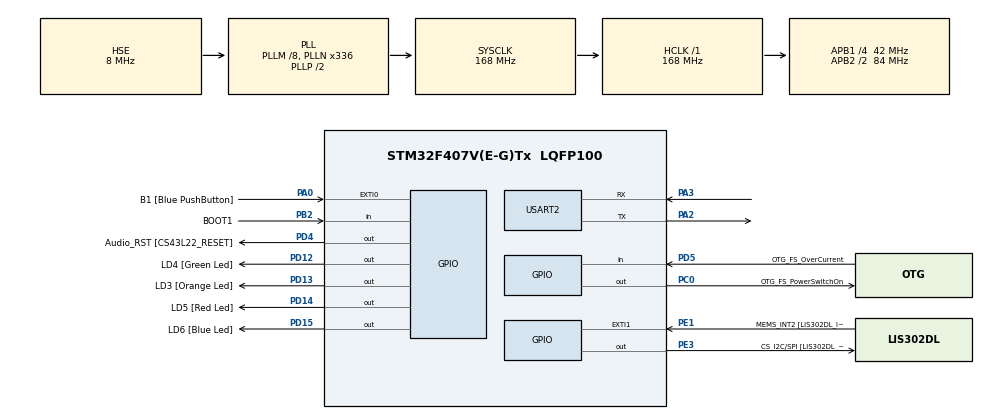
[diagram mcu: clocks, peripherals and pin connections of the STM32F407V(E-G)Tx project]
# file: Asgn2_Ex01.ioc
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Mcu.Family=STM32F4
Mcu.Name=STM32F407V(E-G)Tx
Mcu.Package=LQFP100
NVIC.EXTI0_IRQn=true\:0\:0\:false\:false\:true\:true\:true\:true
NVIC.PriorityGroup=NVIC_PRIORITYGROUP_0
PA0-WKUP.GPIO_Label=B1 [Blue PushButton]
PA0-WKUP.GPIO_ModeDefaultEXTI=GPIO_MODE_IT_RISING
PA0-WKUP.GPIO_PuPd=GPIO_NOPULL
PA0-WKUP.Signal=GPXTI0
PA10.GPIO_Label=OTG_FS_ID
PA10.GPIO_Mode=GPIO_MODE_AF_PP
PA10.GPIO_PuPd=GPIO_NOPULL
PA10.GPIO_Speed=GPIO_SPEED_FREQ_LOW
PA10.Signal=USB_OTG_FS_ID
PA11.GPIO_Label=OTG_FS_DM
PA11.GPIO_Mode=GPIO_MODE_AF_PP
PA11.GPIO_PuPd=GPIO_NOPULL
PA11.GPIO_Speed=GPIO_SPEED_FREQ_LOW
PA11.Signal=USB_OTG_FS_DM
PA12.GPIO_Label=OTG_FS_DP
PA12.GPIO_Mode=GPIO_MODE_AF_PP
PA12.GPIO_PuPd=GPIO_NOPULL
PA12.GPIO_Speed=GPIO_SPEED_FREQ_LOW
PA12.Signal=USB_OTG_FS_DP
PA13.GPIO_Label=SWDIO
PA13.Mode=Serial_Wire
PA13.Signal=SYS_JTMS-SWDIO
PA14.GPIO_Label=SWCLK
PA14.Mode=Serial_Wire
PA14.Signal=SYS_JTCK-SWCLK
PA2.Mode=Asynchronous
PA2.Signal=USART2_TX
PA3.Mode=Asynchronous
PA3.Signal=USART2_RX
PA4.GPIO_Label=I2S3_WS [CS43L22_LRCK]
PA4.GPIO_Mode=GPIO_MODE_AF_PP
PA4.GPIO_PuPd=GPIO_NOPULL
PA4.GPIO_Speed=GPIO_SPEED_FREQ_LOW
PA4.Signal=I2S3_WS
PA5.GPIO_Mode=GPIO_MODE_AF_PP
PA5.GPIO_PuPd=GPIO_NOPULL
PA5.GPIO_Speed=GPIO_SPEED_FREQ_VERY_HIGH
PA5.Signal=SPI1_SCK
PA6.GPIO_Mode=GPIO_MODE_AF_PP
PA6.GPIO_PuPd=GPIO_NOPULL
PA6.GPIO_Speed=GPIO_SPEED_FREQ_VERY_HIGH
PA6.Signal=SPI1_MISO
PA7.GPIO_Mode=GPIO_MODE_AF_PP
PA7.GPIO_PuPd=GPIO_NOPULL
PA7.GPIO_Speed=GPIO_SPEED_FREQ_VERY_HIGH
PA7.Signal=SPI1_MOSI
PA9.GPIO_Label=VBUS_FS
PA9.GPIO_Mode=GPIO_MODE_INPUT
PA9.GPIO_PuPd=GPIO_NOPULL
PA9.Signal=USB_OTG_FS_VBUS
PB10.GPIO_Label=CLK_IN [MP45DT02_CLK]
PB10.GPIO_Mode=GPIO_MODE_AF_PP
PB10.GPIO_PuPd=GPIO_NOPULL
PB10.GPIO_Speed=GPIO_SPEED_FREQ_LOW
PB10.Signal=I2S2_CK
PB2.GPIO_Label=BOOT1
PB2.GPIO_Mode=GPIO_MODE_INPUT
PB2.GPIO_PuPd=GPIO_NOPULL
PB2.Signal=GPIO_Input
PB3.GPIO_Label=SWO
PB3.Signal=SYS_JTDO-SWO
PB6.GPIO_Label=Audio_SCL [CS43L22_SCL]
PB6.GPIO_Mode=GPIO_MODE_AF_OD
PB6.GPIO_Pu=GPIO_PULLUP
PB6.GPIO_PuPd=GPIO_NOPULL
PB6.GPIO_Speed=GPIO_SPEED_FREQ_LOW
PB6.Signal=I2C1_SCL
PB9.GPIO_Label=Audio_SDA [CS43L22_SDA]
PB9.GPIO_Mode=GPIO_MODE_AF_OD
PB9.GPIO_Pu=GPIO_PULLUP
PB9.GPIO_PuPd=GPIO_NOPULL
PB9.GPIO_Speed=GPIO_SPEED_FREQ_LOW
PB9.Signal=I2C1_SDA
PC0.GPIO_Label=OTG_FS_PowerSwitchOn
PC0.GPIO_PuPd=GPIO_NOPULL
PC0.GPIO_Speed=GPIO_SPEED_FREQ_LOW
PC0.PinState=GPIO_PIN_SET
PC0.Signal=GPIO_Output
PC10.GPIO_Label=I2S3_SCK [CS43L22_SCLK]
PC10.GPIO_Mode=GPIO_MODE_AF_PP
PC10.GPIO_PuPd=GPIO_NOPULL
PC10.GPIO_Speed=GPIO_SPEED_FREQ_LOW
PC10.Signal=I2S3_CK
PC12.GPIO_Label=I2S3_SD [CS43L22_SDIN]
PC12.GPIO_Mode=GPIO_MODE_AF_PP
PC12.GPIO_PuPd=GPIO_NOPULL
PC12.GPIO_Speed=GPIO_SPEED_FREQ_LOW
PC12.Signal=I2S3_SD
PC14-OSC32_IN.GPIO_Label=PC14-OSC32_IN
PC14-OSC32_IN.Mode=LSE-External-Oscillator
PC14-OSC32_IN.Signal=RCC_OSC32_IN
PC15-OSC32_OUT.GPIO_Label=PC15-OSC32_OUT
PC15-OSC32_OUT.Mode=LSE-External-Oscillator
PC15-OSC32_OUT.Signal=RCC_OSC32_OUT
PC3.GPIO_Label=PDM_OUT [MP45DT02_DOUT]
PC3.GPIO_Mode=GPIO_MODE_AF_PP
PC3.GPIO_PuPd=GPIO_NOPULL
PC3.GPIO_Speed=GPIO_SPEED_FREQ_LOW
PC3.Signal=I2S2_SD
PC7.GPIO_Label=I2S3_MCK [CS43L22_MCLK]
PC7.GPIO_Mode=GPIO_MODE_AF_PP
PC7.GPIO_PuPd=GPIO_NOPULL
PC7.GPIO_Speed=GPIO_SPEED_FREQ_LOW
PC7.Signal=I2S3_MCK
PD12.GPIO_Label=LD4 [Green Led]
PD12.GPIO_PuPd=GPIO_NOPULL
PD12.GPIO_Speed=GPIO_SPEED_FREQ_LOW
PD12.Signal=GPIO_Output
PD13.GPIO_Label=LD3 [Orange Led]
PD13.GPIO_PuPd=GPIO_NOPULL
PD13.GPIO_Speed=GPIO_SPEED_FREQ_LOW
PD13.Signal=GPIO_Output
PD14.GPIO_Label=LD5 [Red Led]
PD14.GPIO_PuPd=GPIO_NOPULL
PD14.GPIO_Speed=GPIO_SPEED_FREQ_LOW
PD14.Signal=GPIO_Output
PD15.GPIO_Label=LD6 [Blue Led]
PD15.GPIO_PuPd=GPIO_NOPULL
PD15.GPIO_Speed=GPIO_SPEED_FREQ_LOW
PD15.Signal=GPIO_Output
PD4.GPIO_Label=Audio_RST [CS43L22_RESET]
PD4.GPIO_PuPd=GPIO_NOPULL
PD4.GPIO_Speed=GPIO_SPEED_FREQ_LOW
PD4.Signal=GPIO_Output
PD5.GPIO_Label=OTG_FS_OverCurrent
PD5.GPIO_Mode=GPIO_MODE_INPUT
PD5.GPIO_PuPd=GPIO_NOPULL
PD5.Signal=GPIO_Input
PE1.GPIO_Label=MEMS_INT2 [LIS302DL_INT2]
PE1.GPIO_ModeDefaultEXTI=GPIO_MODE_EVT_RISING
PE1.GPIO_PuPd=GPIO_NOPULL
PE1.Signal=GPXTI1
PE3.GPIO_Label=CS_I2C/SPI [LIS302DL_CS_I2C/SPI]
PE3.GPIO_PuPd=GPIO_NOPULL
PE3.GPIO_Speed=GPIO_SPEED_FREQ_LOW
PE3.Signal=GPIO_Output
PH0-OSC_IN.GPIO_Label=PH0-OSC_IN
PH0-OSC_IN.Mode=HSE-External-Oscillator
PH0-OSC_IN.Signal=RCC_OSC_IN
PH1-OSC_OUT.GPIO_Label=PH1-OSC_OUT
PH1-OSC_OUT.Mode=HSE-External-Oscillator
PH1-OSC_OUT.Signal=RCC_OSC_OUT
ProjectManager.HeapSize=0x200
ProjectManager.StackSize=0x400
ProjectManager.TargetToolchain=STM32CubeIDE
RCC.48MHZClocksFreq_Value=48000000
RCC.AHBFreq_Value=168000000
RCC.APB1CLKDivider=RCC_HCLK_DIV4
RCC.APB1Freq_Value=42000000
RCC.APB1TimFreq_Value=84000000
RCC.APB2CLKDivider=RCC_HCLK_DIV2
RCC.APB2Freq_Value=84000000
RCC.APB2TimFreq_Value=168000000
RCC.CortexFreq_Value=168000000
RCC.HCLKFreq_Value=168000000
RCC.HSE_VALUE=8000000
RCC.HSI_VALUE=16000000
RCC.PLLM=8
RCC.PLLN=336
RCC.PLLQ=7
RCC.PLLSourceVirtual=RCC_PLLSOURCE_HSE
RCC.SYSCLKFreq_VALUE=168000000
RCC.SYSCLKSource=RCC_SYSCLKSOURCE_PLLCLK
RCC.VCOOutputFreq_Value=336000000
USART2.VirtualMode=VM_ASYNC
board=STM32F407G-DISC1

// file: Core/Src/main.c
/* USER CODE BEGIN Header */
/**
  ******************************************************************************
  * @file           : main.c
  * @brief          : Main program body
  ******************************************************************************
  * @attention
  *
  * Copyright (c) 2024 STMicroelectronics.
  * All rights reserved.
  *
  * This software is licensed under terms that can be found in the LICENSE file
  * in the root directory of this software component.
  * If no LICENSE file comes with this software, it is provided AS-IS.
  *
  ******************************************************************************
  */
/* USER CODE END Header */
#include "main.h"

/* USER CODE BEGIN PTD */
#define PIN_RED LD5_Pin
#define PIN_GREEN LD4_Pin
#define PIN_ORANGE LD3_Pin
#define PIN_BLUE LD6_Pin

#define COLOR_RED 0
#define COLOR_GREEN 1
#define COLOR_ORANGE 2
#define COLOR_BLUE 3

#define BTN_DOWN 0
#define BTN_UP 1
/* USER CODE END PTD */

UART_HandleTypeDef huart2;

/* USER CODE BEGIN PV */
int color_bools[4];
/* USER CODE END PV */

void SystemClock_Config(void);
static void MX_GPIO_Init(void);
static void MX_USART2_UART_Init(void);

/* USER CODE BEGIN 0 */
int __io_putchar(int ch) {
	uint8_t d = (uint8_t)ch;
	return HAL_UART_Transmit(&huart2, &d, 1, 500);
}

int _write(int file, char *ptr, int len)
{
  (void)file;
  int DataIdx;

  for (DataIdx = 0; DataIdx < len; DataIdx++)
  {
    __io_putchar(*ptr++);
  }
  return len;
}

void HAL_GPIO_EXTI_Callback(uint16_t GPIO_Pin)
{
	while(1) {}
}

uint16_t get_color_pin(int color) {
	switch(color) {
	case 0:
		return LD5_Pin;
	case 1:
		return LD4_Pin;
	case 2:
		return LD3_Pin;
	case 3:
		return LD6_Pin;
	default:
		return 0;
	}
}

/* sets pin */
void led_set(int color, int on) {
	if (on) {
		HAL_GPIO_WritePin(LD4_GPIO_Port, get_color_pin(color), GPIO_PIN_SET);
	}
	else {
		HAL_GPIO_WritePin(LD4_GPIO_Port, get_color_pin(color), GPIO_PIN_RESET);
	}
}

void color_update(int color) {
	if (color_bools[color]) {
		led_set(color, 1);
	}
	else {
		led_set(color, 0);
	}
}

void all_color_update() {
	for (int i = 0; i < 4; i++) {
		color_update(i);
	}
}

/* sets value in color_bools array */
void color_set(int color, int state) {
	color_bools[color] = state;
}

void color_toggle(int color) {
	color_bools[color] = !color_bools[color];
}

/* only color provided in argument will be set to 1, other 0 */
void color_set_exclusive(int color) {
	for (int i = 0; i < 4; i++) {
		color_bools[i] = i == color ? 1 : 0;
	}
}

void all_color_set(int value) {
	for (int i = 0; i < 4; i++) {
		color_bools[i] = value;
	}
}

void all_color_toggle() {
	for (int i = 0; i < 4; i++) {
		color_toggle(i);
	}
}

/* resets/turns off all colors */
void all_off() {
	all_color_set(0);
}

/* USER CODE END 0 */

int main(void)
{

  /* MCU Configuration--------------------------------------------------------*/

  /* Reset of all peripherals, Initializes the Flash interface and the Systick. */
  HAL_Init();

  /* Configure the system clock */
  SystemClock_Config();

  /* USER CODE BEGIN SysInit */
  SysTick->LOAD = 4200000;
  SysTick->CTRL = SysTick_CTRL_CLKSOURCE_Msk | SysTick_CTRL_TICKINT_Msk | SysTick_CTRL_ENABLE_Msk | SysTick->CTRL;
  /* USER CODE END SysInit */

  /* Initialize all configured peripherals */
  MX_GPIO_Init();
  MX_USART2_UART_Init();
  /* USER CODE BEGIN 2 */
//  HAL_GPIO_WritePin(LD3_GPIO_Port, LD3_Pin, GPIO_PIN_SET);
  int minor_cycle = 0;
  int minor_cycle_step = 50;
  int major_cycle = 6000;
  int led = 0;

  color_bools[COLOR_RED] = 0;
  color_bools[COLOR_GREEN] = 0;
  color_bools[COLOR_BLUE] = 0;
  color_bools[COLOR_ORANGE] = 0;
  /* USER CODE END 2 */

  /* Infinite loop */
  while (1)
  {

    /* USER CODE BEGIN 3 */
	  if (minor_cycle % 8 == 0) {
		  color_toggle(COLOR_BLUE);
	  }
	  if (minor_cycle % 2 == 0) {
		  color_toggle(COLOR_GREEN);
	  }
	  if (minor_cycle % 3 == 0) {
		  color_toggle(COLOR_ORANGE);
	  }
	  if (minor_cycle % 5 == 0) {
		  color_toggle(COLOR_RED);
	  }
	  all_color_update();

	  minor_cycle += 1;
	  if (minor_cycle % 120 == 0) {
		  minor_cycle = 0;
	  }
//	  led_set(COLOR_BLUE, led);
//	  led = !led;
	  HAL_Delay(1);
  }
  /* USER CODE END 3 */
}

void SystemClock_Config(void)
{
  RCC_OscInitTypeDef RCC_OscInitStruct = {0};
  RCC_ClkInitTypeDef RCC_ClkInitStruct = {0};

  /** Configure the main internal regulator output voltage
  */
  __HAL_RCC_PWR_CLK_ENABLE();
  __HAL_PWR_VOLTAGESCALING_CONFIG(PWR_REGULATOR_VOLTAGE_SCALE1);

  /** Initializes the RCC Oscillators according to the specified parameters
  * in the RCC_OscInitTypeDef structure.
  */
  RCC_OscInitStruct.OscillatorType = RCC_OSCILLATORTYPE_HSE;
  RCC_OscInitStruct.HSEState = RCC_HSE_ON;
  RCC_OscInitStruct.PLL.PLLState = RCC_PLL_ON;
  RCC_OscInitStruct.PLL.PLLSource = RCC_PLLSOURCE_HSE;
  RCC_OscInitStruct.PLL.PLLM = 8;
  RCC_OscInitStruct.PLL.PLLN = 336;
  RCC_OscInitStruct.PLL.PLLP = RCC_PLLP_DIV2;
  RCC_OscInitStruct.PLL.PLLQ = 7;
  if (HAL_RCC_OscConfig(&RCC_OscInitStruct) != HAL_OK)
  {
    Error_Handler();
  }

  /** Initializes the CPU, AHB and APB buses clocks
  */
  RCC_ClkInitStruct.ClockType = RCC_CLOCKTYPE_HCLK|RCC_CLOCKTYPE_SYSCLK
                              |RCC_CLOCKTYPE_PCLK1|RCC_CLOCKTYPE_PCLK2;
  RCC_ClkInitStruct.SYSCLKSource = RCC_SYSCLKSOURCE_PLLCLK;
  RCC_ClkInitStruct.AHBCLKDivider = RCC_SYSCLK_DIV1;
  RCC_ClkInitStruct.APB1CLKDivider = RCC_HCLK_DIV4;
  RCC_ClkInitStruct.APB2CLKDivider = RCC_HCLK_DIV2;

  if (HAL_RCC_ClockConfig(&RCC_ClkInitStruct, FLASH_LATENCY_5) != HAL_OK)
  {
    Error_Handler();
  }
}

static void MX_USART2_UART_Init(void)
{

  huart2.Instance = USART2;
  huart2.Init.BaudRate = 115200;
  huart2.Init.WordLength = UART_WORDLENGTH_8B;
  huart2.Init.StopBits = UART_STOPBITS_1;
  huart2.Init.Parity = UART_PARITY_NONE;
  huart2.Init.Mode = UART_MODE_TX_RX;
  huart2.Init.HwFlowCtl = UART_HWCONTROL_NONE;
  huart2.Init.OverSampling = UART_OVERSAMPLING_16;
  if (HAL_UART_Init(&huart2) != HAL_OK)
  {
    Error_Handler();
  }

}

static void MX_GPIO_Init(void)
{
  GPIO_InitTypeDef GPIO_InitStruct = {0};

  /* GPIO Ports Clock Enable */
  __HAL_RCC_GPIOE_CLK_ENABLE();
  __HAL_RCC_GPIOC_CLK_ENABLE();
  __HAL_RCC_GPIOH_CLK_ENABLE();
  __HAL_RCC_GPIOA_CLK_ENABLE();
  __HAL_RCC_GPIOB_CLK_ENABLE();
  __HAL_RCC_GPIOD_CLK_ENABLE();

  /*Configure GPIO pin Output Level */
  HAL_GPIO_WritePin(CS_I2C_SPI_GPIO_Port, CS_I2C_SPI_Pin, GPIO_PIN_RESET);

  /*Configure GPIO pin Output Level */
  HAL_GPIO_WritePin(OTG_FS_PowerSwitchOn_GPIO_Port, OTG_FS_PowerSwitchOn_Pin, GPIO_PIN_SET);

  /*Configure GPIO pin Output Level */
  HAL_GPIO_WritePin(GPIOD, LD4_Pin|LD3_Pin|LD5_Pin|LD6_Pin
                          |Audio_RST_Pin, GPIO_PIN_RESET);

  /*Configure GPIO pin : CS_I2C_SPI_Pin */
  GPIO_InitStruct.Pin = CS_I2C_SPI_Pin;
  GPIO_InitStruct.Mode = GPIO_MODE_OUTPUT_PP;
  GPIO_InitStruct.Pull = GPIO_NOPULL;
  GPIO_InitStruct.Speed = GPIO_SPEED_FREQ_LOW;
  HAL_GPIO_Init(CS_I2C_SPI_GPIO_Port, &GPIO_InitStruct);

  /*Configure GPIO pin : OTG_FS_PowerSwitchOn_Pin */
  GPIO_InitStruct.Pin = OTG_FS_PowerSwitchOn_Pin;
  GPIO_InitStruct.Mode = GPIO_MODE_OUTPUT_PP;
  GPIO_InitStruct.Pull = GPIO_NOPULL;
  GPIO_InitStruct.Speed = GPIO_SPEED_FREQ_LOW;
  HAL_GPIO_Init(OTG_FS_PowerSwitchOn_GPIO_Port, &GPIO_InitStruct);

  /*Configure GPIO pin : PDM_OUT_Pin */
  GPIO_InitStruct.Pin = PDM_OUT_Pin;
  GPIO_InitStruct.Mode = GPIO_MODE_AF_PP;
  GPIO_InitStruct.Pull = GPIO_NOPULL;
  GPIO_InitStruct.Speed = GPIO_SPEED_FREQ_LOW;
  GPIO_InitStruct.Alternate = GPIO_AF5_SPI2;
  HAL_GPIO_Init(PDM_OUT_GPIO_Port, &GPIO_InitStruct);

  /*Configure GPIO pin : B1_Pin */
  GPIO_InitStruct.Pin = B1_Pin;
  GPIO_InitStruct.Mode = GPIO_MODE_IT_RISING;
  GPIO_InitStruct.Pull = GPIO_NOPULL;
  HAL_GPIO_Init(B1_GPIO_Port, &GPIO_InitStruct);

  /*Configure GPIO pin : I2S3_WS_Pin */
  GPIO_InitStruct.Pin = I2S3_WS_Pin;
  GPIO_InitStruct.Mode = GPIO_MODE_AF_PP;
  GPIO_InitStruct.Pull = GPIO_NOPULL;
  GPIO_InitStruct.Speed = GPIO_SPEED_FREQ_LOW;
  GPIO_InitStruct.Alternate = GPIO_AF6_SPI3;
  HAL_GPIO_Init(I2S3_WS_GPIO_Port, &GPIO_InitStruct);

  /*Configure GPIO pins : PA5 PA6 PA7 */
  GPIO_InitStruct.Pin = GPIO_PIN_5|GPIO_PIN_6|GPIO_PIN_7;
  GPIO_InitStruct.Mode = GPIO_MODE_AF_PP;
  GPIO_InitStruct.Pull = GPIO_NOPULL;
  GPIO_InitStruct.Speed = GPIO_SPEED_FREQ_VERY_HIGH;
  GPIO_InitStruct.Alternate = GPIO_AF5_SPI1;
  HAL_GPIO_Init(GPIOA, &GPIO_InitStruct);

  /*Configure GPIO pin : BOOT1_Pin */
  GPIO_InitStruct.Pin = BOOT1_Pin;
  GPIO_InitStruct.Mode = GPIO_MODE_INPUT;
  GPIO_InitStruct.Pull = GPIO_NOPULL;
  HAL_GPIO_Init(BOOT1_GPIO_Port, &GPIO_InitStruct);

  /*Configure GPIO pin : CLK_IN_Pin */
  GPIO_InitStruct.Pin = CLK_IN_Pin;
  GPIO_InitStruct.Mode = GPIO_MODE_AF_PP;
  GPIO_InitStruct.Pull = GPIO_NOPULL;
  GPIO_InitStruct.Speed = GPIO_SPEED_FREQ_LOW;
  GPIO_InitStruct.Alternate = GPIO_AF5_SPI2;
  HAL_GPIO_Init(CLK_IN_GPIO_Port, &GPIO_InitStruct);

  /*Configure GPIO pins : LD4_Pin LD3_Pin LD5_Pin LD6_Pin
                           Audio_RST_Pin */
  GPIO_InitStruct.Pin = LD4_Pin|LD3_Pin|LD5_Pin|LD6_Pin
                          |Audio_RST_Pin;
  GPIO_InitStruct.Mode = GPIO_MODE_OUTPUT_PP;
  GPIO_InitStruct.Pull = GPIO_NOPULL;
  GPIO_InitStruct.Speed = GPIO_SPEED_FREQ_LOW;
  HAL_GPIO_Init(GPIOD, &GPIO_InitStruct);

  /*Configure GPIO pins : I2S3_MCK_Pin I2S3_SCK_Pin I2S3_SD_Pin */
  GPIO_InitStruct.Pin = I2S3_MCK_Pin|I2S3_SCK_Pin|I2S3_SD_Pin;
  GPIO_InitStruct.Mode = GPIO_MODE_AF_PP;
  GPIO_InitStruct.Pull = GPIO_NOPULL;
  GPIO_InitStruct.Speed = GPIO_SPEED_FREQ_LOW;
  GPIO_InitStruct.Alternate = GPIO_AF6_SPI3;
  HAL_GPIO_Init(GPIOC, &GPIO_InitStruct);

  /*Configure GPIO pin : VBUS_FS_Pin */
  GPIO_InitStruct.Pin = VBUS_FS_Pin;
  GPIO_InitStruct.Mode = GPIO_MODE_INPUT;
  GPIO_InitStruct.Pull = GPIO_NOPULL;
  HAL_GPIO_Init(VBUS_FS_GPIO_Port, &GPIO_InitStruct);

  /*Configure GPIO pins : OTG_FS_ID_Pin OTG_FS_DM_Pin OTG_FS_DP_Pin */
  GPIO_InitStruct.Pin = OTG_FS_ID_Pin|OTG_FS_DM_Pin|OTG_FS_DP_Pin;
  GPIO_InitStruct.Mode = GPIO_MODE_AF_PP;
  GPIO_InitStruct.Pull = GPIO_NOPULL;
  GPIO_InitStruct.Speed = GPIO_SPEED_FREQ_LOW;
  GPIO_InitStruct.Alternate = GPIO_AF10_OTG_FS;
  HAL_GPIO_Init(GPIOA, &GPIO_InitStruct);

  /*Configure GPIO pin : OTG_FS_OverCurrent_Pin */
  GPIO_InitStruct.Pin = OTG_FS_OverCurrent_Pin;
  GPIO_InitStruct.Mode = GPIO_MODE_INPUT;
  GPIO_InitStruct.Pull = GPIO_NOPULL;
  HAL_GPIO_Init(OTG_FS_OverCurrent_GPIO_Port, &GPIO_InitStruct);

  /*Configure GPIO pins : Audio_SCL_Pin Audio_SDA_Pin */
  GPIO_InitStruct.Pin = Audio_SCL_Pin|Audio_SDA_Pin;
  GPIO_InitStruct.Mode = GPIO_MODE_AF_OD;
  GPIO_InitStruct.Pull = GPIO_PULLUP;
  GPIO_InitStruct.Speed = GPIO_SPEED_FREQ_LOW;
  GPIO_InitStruct.Alternate = GPIO_AF4_I2C1;
  HAL_GPIO_Init(GPIOB, &GPIO_InitStruct);

  /*Configure GPIO pin : MEMS_INT2_Pin */
  GPIO_InitStruct.Pin = MEMS_INT2_Pin;
  GPIO_InitStruct.Mode = GPIO_MODE_EVT_RISING;
  GPIO_InitStruct.Pull = GPIO_NOPULL;
  HAL_GPIO_Init(MEMS_INT2_GPIO_Port, &GPIO_InitStruct);

  /* EXTI interrupt init*/
  HAL_NVIC_SetPriority(EXTI0_IRQn, 0, 0);
  HAL_NVIC_EnableIRQ(EXTI0_IRQn);

}

void Error_Handler(void)
{
  __disable_irq();
  while (1)
  {
  }
}
